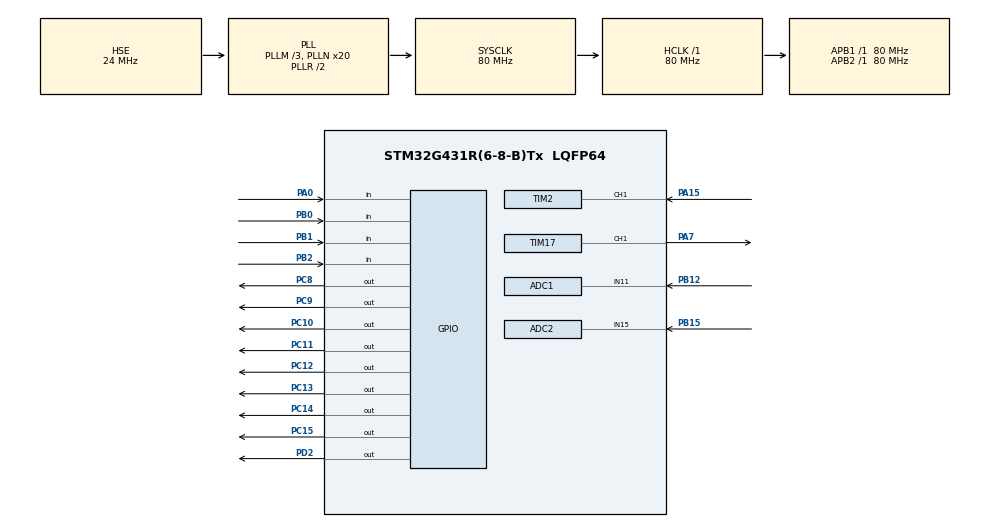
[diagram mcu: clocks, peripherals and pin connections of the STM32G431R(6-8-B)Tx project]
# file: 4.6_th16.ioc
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ADC1.Channel-1\#ChannelRegularConversion=ADC_CHANNEL_11
ADC1.NbrOfConversionFlag=1
ADC1.OffsetNumber-1\#ChannelRegularConversion=ADC_OFFSET_NONE
ADC1.Rank-1\#ChannelRegularConversion=1
ADC1.SamplingTime-1\#ChannelRegularConversion=ADC_SAMPLETIME_2CYCLES_5
ADC1.master=1
ADC2.Channel-0\#ChannelRegularConversion=ADC_CHANNEL_15
ADC2.NbrOfConversionFlag=1
ADC2.OffsetNumber-0\#ChannelRegularConversion=ADC_OFFSET_NONE
ADC2.Rank-0\#ChannelRegularConversion=1
ADC2.SamplingTime-0\#ChannelRegularConversion=ADC_SAMPLETIME_2CYCLES_5
Mcu.Family=STM32G4
Mcu.Name=STM32G431R(6-8-B)Tx
Mcu.Package=LQFP64
NVIC.PriorityGroup=NVIC_PRIORITYGROUP_4
NVIC.TIM1_UP_TIM16_IRQn=true\:0\:0\:false\:false\:true\:true\:true\:true
NVIC.TIM2_IRQn=true\:0\:0\:false\:false\:true\:true\:true\:true
PA0.GPIO_Mode=GPIO_MODE_INPUT
PA0.GPIO_PuPd=GPIO_NOPULL
PA0.Signal=GPIO_Input
PA13.Mode=Serial_Wire
PA13.Signal=SYS_JTMS-SWDIO
PA14.Mode=Serial_Wire
PA14.Signal=SYS_JTCK-SWCLK
PA15.Signal=S_TIM2_CH1
PA7.Signal=S_TIM17_CH1
PB0.GPIO_Mode=GPIO_MODE_INPUT
PB0.GPIO_PuPd=GPIO_NOPULL
PB0.Signal=GPIO_Input
PB1.GPIO_Mode=GPIO_MODE_INPUT
PB1.GPIO_PuPd=GPIO_NOPULL
PB1.Signal=GPIO_Input
PB12.Mode=IN11-Single-Ended
PB12.Signal=ADC1_IN11
PB15.Mode=IN15-Single-Ended
PB15.Signal=ADC2_IN15
PB2.GPIO_Mode=GPIO_MODE_INPUT
PB2.GPIO_PuPd=GPIO_NOPULL
PB2.Signal=GPIO_Input
PC10.GPIO_ModeDefaultOutputPP=GPIO_MODE_OUTPUT_PP
PC10.PinState=GPIO_PIN_SET
PC10.Signal=GPIO_Output
PC11.GPIO_ModeDefaultOutputPP=GPIO_MODE_OUTPUT_PP
PC11.PinState=GPIO_PIN_SET
PC11.Signal=GPIO_Output
PC12.GPIO_ModeDefaultOutputPP=GPIO_MODE_OUTPUT_PP
PC12.PinState=GPIO_PIN_SET
PC12.Signal=GPIO_Output
PC13.GPIO_ModeDefaultOutputPP=GPIO_MODE_OUTPUT_PP
PC13.PinState=GPIO_PIN_SET
PC13.Signal=GPIO_Output
PC14-OSC32_IN.GPIO_ModeDefaultOutputPP=GPIO_MODE_OUTPUT_PP
PC14-OSC32_IN.PinState=GPIO_PIN_SET
PC14-OSC32_IN.Signal=GPIO_Output
PC15-OSC32_OUT.GPIO_ModeDefaultOutputPP=GPIO_MODE_OUTPUT_PP
PC15-OSC32_OUT.PinState=GPIO_PIN_SET
PC15-OSC32_OUT.Signal=GPIO_Output
PC8.GPIO_ModeDefaultOutputPP=GPIO_MODE_OUTPUT_PP
PC8.PinState=GPIO_PIN_SET
PC8.Signal=GPIO_Output
PC9.GPIO_ModeDefaultOutputPP=GPIO_MODE_OUTPUT_PP
PC9.PinState=GPIO_PIN_SET
PC9.Signal=GPIO_Output
PD2.GPIO_ModeDefaultOutputPP=GPIO_MODE_OUTPUT_PP
PD2.PinState=GPIO_PIN_SET
PD2.Signal=GPIO_Output
PF0-OSC_IN.Mode=HSE-External-Oscillator
PF0-OSC_IN.Signal=RCC_OSC_IN
PF1-OSC_OUT.Mode=HSE-External-Oscillator
PF1-OSC_OUT.Signal=RCC_OSC_OUT
ProjectManager.HeapSize=0x200
ProjectManager.StackSize=0x400
ProjectManager.TargetToolchain=MDK-ARM V5.32
RCC.ADC12Freq_Value=80000000
RCC.AHBFreq_Value=80000000
RCC.APB1Freq_Value=80000000
RCC.APB1TimFreq_Value=80000000
RCC.APB2Freq_Value=80000000
RCC.APB2TimFreq_Value=80000000
RCC.CortexFreq_Value=80000000
RCC.EXTERNAL_CLOCK_VALUE=12288000
RCC.HCLKFreq_Value=80000000
RCC.HSE_VALUE=24000000
RCC.HSI48_VALUE=48000000
RCC.HSI_VALUE=16000000
RCC.LSE_VALUE=32768
RCC.PLLM=RCC_PLLM_DIV3
RCC.PLLN=20
RCC.PLLSourceVirtual=RCC_PLLSOURCE_HSE
RCC.SYSCLKFreq_VALUE=80000000
RCC.SYSCLKSource=RCC_SYSCLKSOURCE_PLLCLK
RCC.USBFreq_Value=80000000
RCC.VCOOutputFreq_Value=160000000
SH.S_TIM17_CH1.0=TIM17_CH1,PWM Generation1 CH1
SH.S_TIM2_CH1.0=TIM2_CH1,Input_Capture1_from_TI1
TIM1.PeriodNoDither=1000-1
TIM1.Prescaler=80-1
TIM17.Channel=TIM_CHANNEL_1
TIM17.PeriodNoDither=100-1
TIM17.Prescaler=800-1
TIM2.Channel-Input_Capture1_from_TI1=TIM_CHANNEL_1
TIM2.Prescaler=80-1
VP_SYS_VS_DBSignals.Mode=DisableDeadBatterySignals
VP_TIM17_VS_ClockSourceINT.Mode=Enable_Timer
VP_TIM1_VS_ClockSourceINT.Mode=Internal
board=custom

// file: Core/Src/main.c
/* USER CODE BEGIN Header */
/**
  ******************************************************************************
  * @file           : main.c
  * @brief          : Main program body
  ******************************************************************************
  * @attention
  *
  * Copyright (c) 2026 STMicroelectronics.
  * All rights reserved.
  *
  * This software is licensed under terms that can be found in the LICENSE file
  * in the root directory of this software component.
  * If no LICENSE file comes with this software, it is provided AS-IS.
  *
  ******************************************************************************
  */
/* USER CODE END Header */
#include "main.h"
#include "adc.h"
#include "tim.h"
#include "gpio.h"

/* USER CODE BEGIN Includes */
#include "headfile.h"
/* USER CODE END Includes */

void SystemClock_Config(void);

int main(void)
{

  /* MCU Configuration--------------------------------------------------------*/

  /* Reset of all peripherals, Initializes the Flash interface and the Systick. */
  HAL_Init();

  /* Configure the system clock */
  SystemClock_Config();

  /* Initialize all configured peripherals */
  MX_GPIO_Init();
  MX_TIM1_Init();
  MX_ADC1_Init();
  MX_ADC2_Init();
  MX_TIM2_Init();
  MX_TIM17_Init();
  /* USER CODE BEGIN 2 */
	HAL_GPIO_WritePin(GPIOD,GPIO_PIN_2,GPIO_PIN_RESET);
	HAL_TIM_Base_Start_IT(&htim1);

	LCD_Init();
	LCD_Clear(Black);
	LCD_SetBackColor(Black);
	LCD_SetTextColor(White);

	HAL_TIM_IC_Start_IT(&htim2,TIM_CHANNEL_1);
	HAL_TIM_PWM_Start(&htim17,TIM_CHANNEL_1);
	TIM17->CCR1=50;
	HAL_ADCEx_Calibration_Start(&hadc1,ADC_SINGLE_ENDED);
	HAL_ADCEx_Calibration_Start(&hadc2,ADC_SINGLE_ENDED);

  /* USER CODE END 2 */

  /* Infinite loop */
  /* USER CODE BEGIN WHILE */
  while (1)
  {
	  task();
	  if(key_short)
	  {
		switch(key_short)
		{
			case 1:{
			mode_lcd=(mode_lcd+1)%3;
			}break;
				case 2:{
					if(mode_lcd==0)
					{
						lock_flag=!lock_flag;
					}

				if(mode_lcd==2)
				{
					mode_canshu=(mode_canshu+1)%4;
				}
				}break;
					case 3:{
						if(mode_lcd==2&&mode_canshu==0)test_DS++;
						if(mode_lcd==2&&mode_canshu==1)test_DR+=10;
						if(mode_lcd==2&&mode_canshu==2)test_FS+=100;
						if(mode_lcd==2&&mode_canshu==3)test_FR+=1000;
					}break;
						case 4:{
						if(mode_lcd==2&&mode_canshu==0)test_DS--;
						if(mode_lcd==2&&mode_canshu==1)test_DR-=10;
						if(mode_lcd==2&&mode_canshu==2)test_FS-=100;
						if(mode_lcd==2&&mode_canshu==3)test_FR-=1000;
						}break;
		}key_short=0;
	  }

	  if(key_long)
	  {
		switch(key_long)
		{
			case 1:{

			}break;
				case 2:{
						if(mode_lcd==0)
					{
						hour=0;min=0;sec=0;
					}
				}break;
					case 3:{}break;
						case 4:{}break;
		}key_long=0;
	  }

    /* USER CODE END WHILE */

  }
}

void SystemClock_Config(void)
{
  RCC_OscInitTypeDef RCC_OscInitStruct = {0};
  RCC_ClkInitTypeDef RCC_ClkInitStruct = {0};

  /** Configure the main internal regulator output voltage
  */
  HAL_PWREx_ControlVoltageScaling(PWR_REGULATOR_VOLTAGE_SCALE1);

  /** Initializes the RCC Oscillators according to the specified parameters
  * in the RCC_OscInitTypeDef structure.
  */
  RCC_OscInitStruct.OscillatorType = RCC_OSCILLATORTYPE_HSE;
  RCC_OscInitStruct.HSEState = RCC_HSE_ON;
  RCC_OscInitStruct.PLL.PLLState = RCC_PLL_ON;
  RCC_OscInitStruct.PLL.PLLSource = RCC_PLLSOURCE_HSE;
  RCC_OscInitStruct.PLL.PLLM = RCC_PLLM_DIV3;
  RCC_OscInitStruct.PLL.PLLN = 20;
  RCC_OscInitStruct.PLL.PLLP = RCC_PLLP_DIV2;
  RCC_OscInitStruct.PLL.PLLQ = RCC_PLLQ_DIV2;
  RCC_OscInitStruct.PLL.PLLR = RCC_PLLR_DIV2;
  if (HAL_RCC_OscConfig(&RCC_OscInitStruct) != HAL_OK)
  {
    Error_Handler();
  }

  /** Initializes the CPU, AHB and APB buses clocks
  */
  RCC_ClkInitStruct.ClockType = RCC_CLOCKTYPE_HCLK|RCC_CLOCKTYPE_SYSCLK
                              |RCC_CLOCKTYPE_PCLK1|RCC_CLOCKTYPE_PCLK2;
  RCC_ClkInitStruct.SYSCLKSource = RCC_SYSCLKSOURCE_PLLCLK;
  RCC_ClkInitStruct.AHBCLKDivider = RCC_SYSCLK_DIV1;
  RCC_ClkInitStruct.APB1CLKDivider = RCC_HCLK_DIV1;
  RCC_ClkInitStruct.APB2CLKDivider = RCC_HCLK_DIV1;

  if (HAL_RCC_ClockConfig(&RCC_ClkInitStruct, FLASH_LATENCY_2) != HAL_OK)
  {
    Error_Handler();
  }
}

void Error_Handler(void)
{
  __disable_irq();
  while (1)
  {
  }
}
